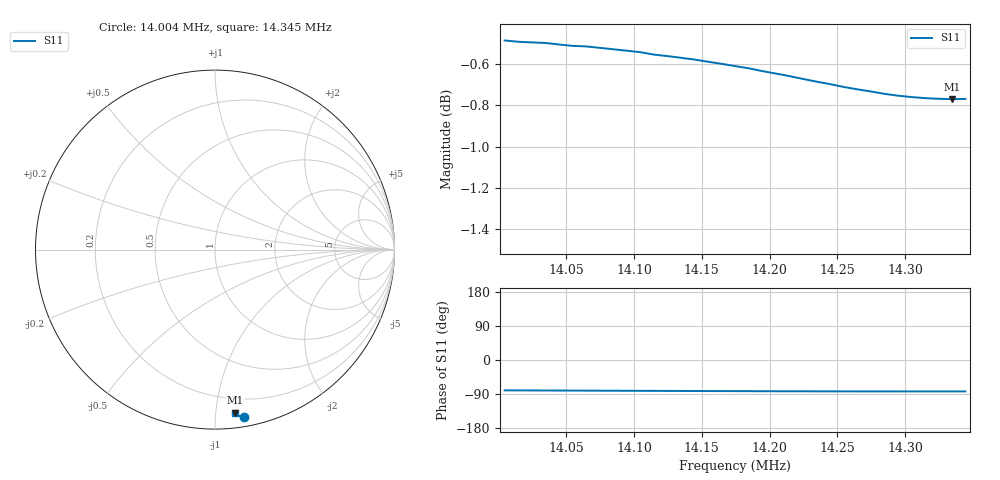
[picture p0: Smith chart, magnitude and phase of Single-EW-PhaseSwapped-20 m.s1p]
# HZ S RI R 50
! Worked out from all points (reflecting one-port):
!   35 points, 14.004 MHz to 14.345 MHz, reference 50 ohm
!   lowest |S11| = -0.8 dB at 14.335 MHz (marker M1), VSWR 22.59, Z = 5.04 - j56.4 ohm
!   phase of S11 starts at -80 deg and turns -3 deg over the sweep
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1.40044e7  0.1626 -0.9317
1.40144e7  0.1605 -0.9314
1.403441e7  0.1563 -0.9314
1.404442e7  0.1543 -0.931
1.405442e7  0.152 -0.9306
1.406442e7  0.1499 -0.9307
1.407443e7  0.1479 -0.9302
1.409444e7  0.1435 -0.9294
1.410444e7  0.1415 -0.9289
1.411444e7  0.1394 -0.9279
1.412445e7  0.1374 -0.9274
1.413445e7  0.1352 -0.9269
1.416446e7  0.1291 -0.9245
1.417447e7  0.1273 -0.9236
1.418447e7  0.1255 -0.9227
1.419448e7  0.1236 -0.9215
1.420448e7  0.1219 -0.9204
1.422449e7  0.1191 -0.918
1.423449e7  0.1177 -0.9167
1.42445e7  0.1166 -0.9156
1.42645e7  0.1148 -0.9131
1.427451e7  0.1141 -0.9121
1.428451e7  0.1138 -0.9109
1.429452e7  0.1134 -0.91
1.430452e7  0.1131 -0.9093
1.431452e7  0.1131 -0.9087
1.433453e7  0.113 -0.9082
1.434454e7  0.113 -0.9083
